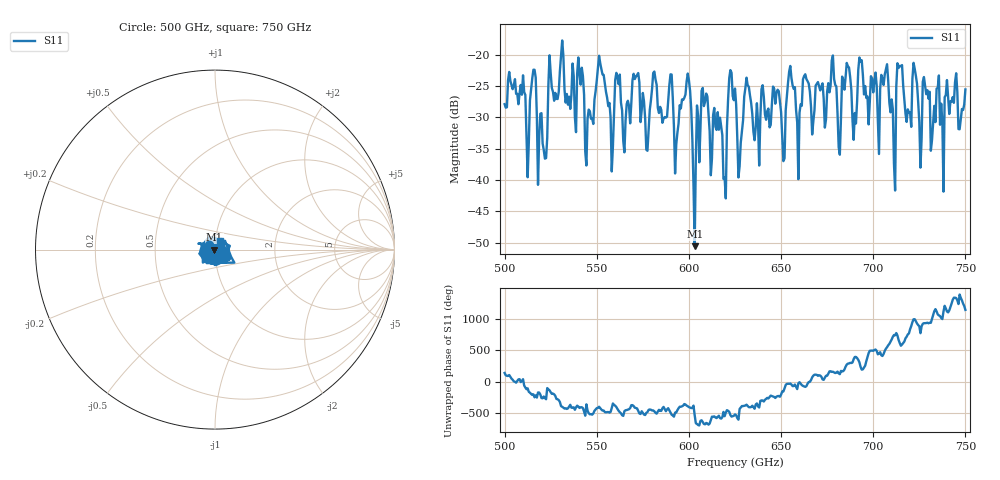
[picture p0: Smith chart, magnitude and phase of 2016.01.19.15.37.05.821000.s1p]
!Created with skrf (http://scikit-rf.org).
# GHz S RI R 50.0
!freq ReS11 ImS11
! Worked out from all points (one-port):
!   401 points, 500 GHz to 750 GHz, reference 50 ohm
!   lowest |S11| = -50.5 dB at 603.1 GHz (marker M1), VSWR 1.01, Z = 49.7 - j0.0635 ohm
!   |S11| at or under -10 dB: start of sweep to end of sweep
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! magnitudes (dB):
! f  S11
! 500 GHz  -27.9
! 513.1 GHz  -34.1
! 515.6 GHz  -22.4
! 521.9 GHz  -36.6
! 531.2 GHz  -17.7
! 545 GHz  -30.2
! 551.2 GHz  -20.2
! 557.5 GHz  -30.0
! 562.5 GHz  -23.2
! 577.5 GHz  -35.3
! 590 GHz  -23.1
! 593.8 GHz  -32.5
! 599.4 GHz  -23.0
! 603.1 GHz  -50.5
! 608.1 GHz  -28.2
! 618.8 GHz  -39.8
! 622.5 GHz  -22.5
! 625 GHz  -25.4
! 627.5 GHz  -37.8
! 651.2 GHz  -37.0
! 656.2 GHz  -24.9
! 659.4 GHz  -39.9
! 687.5 GHz  -23.6
! 706.9 GHz  -22.4
! 710.6 GHz  -28.7
! 714.4 GHz  -21.8
! 718.8 GHz  -28.7
! 750 GHz  -25.5
